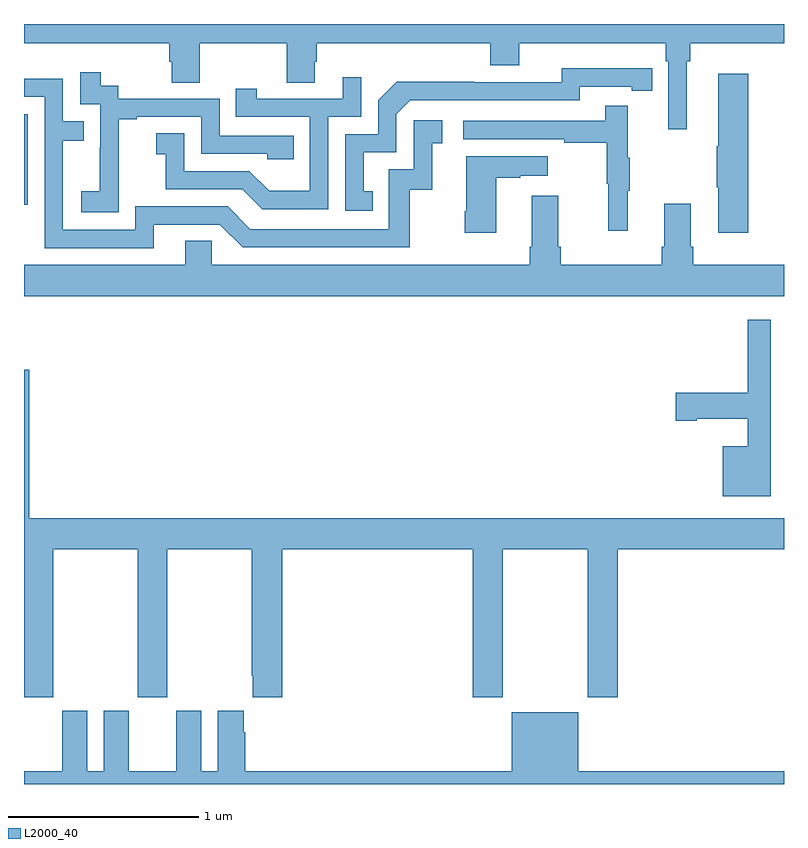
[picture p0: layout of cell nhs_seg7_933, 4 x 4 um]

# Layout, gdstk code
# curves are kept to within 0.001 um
import gdstk
lib = gdstk.Library(unit=1e-6, precision=1e-09)
def R(c, l, rs):  # rectangles x0, y0, x1, y1
    for r in rs: c.add(gdstk.rectangle(r[:2], r[2:], *l))
def P(c, l, *ps):  # polygons
    for p in ps: c.add(gdstk.Polygon(p, *l))
L2000_40 = (2000, 40)

nhs_seg7_933 = lib.new_cell('nhs_seg7_933')
R(nhs_seg7_933, L2000_40, [(179,1049.049,179.019,1049.526)])
P(nhs_seg7_933, L2000_40, [(182.488,1049.804),(182.507,1049.804),(182.507,1049.9),(183,1049.9),(183,1050),(179,1050),(179,1049.9),(179.765,1049.9),(179.765,1049.802),(179.777,1049.802),(179.777,1049.692),(179.925,1049.692),(179.925,1049.9),(180.382,1049.9),(180.382,1049.692),(180.529,1049.692),(180.529,1049.802),(180.542,1049.802),(180.542,1049.9),(181.454,1049.9),(181.454,1049.783),(181.606,1049.783),(181.606,1049.9),(182.378,1049.9),(182.378,1049.804),(182.391,1049.804),(182.391,1049.445),(182.488,1049.445)],
  [(180.836,1049.121),(180.787,1049.121),(180.787,1049.325),(180.96,1049.325),(180.96,1049.526),(181.032,1049.598),(181.926,1049.598),(181.926,1049.67),(182.198,1049.67),(182.198,1049.65),(182.306,1049.65),(182.306,1049.766),(181.83,1049.767),(181.83,1049.694),(181.37,1049.694),(181.37,1049.696),(180.962,1049.696),(180.864,1049.598),(180.864,1049.421),(180.69,1049.421),(180.69,1049.016),(180.836,1049.016)],
  [(179.499,1049.215),(179.498,1049.215),(179.498,1049.499),(179.593,1049.499),(179.593,1049.511),(179.934,1049.511),(179.934,1049.316),(180.279,1049.316),(180.279,1049.289),(180.419,1049.289),(180.419,1049.412),(180.03,1049.412),(180.03,1049.607),(179.496,1049.607),(179.496,1049.676),(179.404,1049.676),(179.404,1049.746),(179.295,1049.746),(179.295,1049.577),(179.4,1049.577),(179.4,1049.348),(179.399,1049.348),(179.399,1049.119),(179.301,1049.119),(179.301,1049.009),(179.499,1049.009)],
  [(182.813,1049.737),(182.654,1049.737),(182.654,1049.357),(182.647,1049.357),(182.647,1049.14),(182.654,1049.14),(182.654,1048.902),(182.813,1048.902)],
  [(180.6,1049.511),(180.774,1049.511),(180.774,1049.719),(180.677,1049.719),(180.677,1049.607),(180.226,1049.607),(180.226,1049.659),(180.115,1049.659),(180.115,1049.511),(180.504,1049.511),(180.504,1049.122),(180.29,1049.122),(180.186,1049.226),(179.844,1049.226),(179.844,1049.425),(179.697,1049.425),(179.697,1049.315),(179.746,1049.315),(179.746,1049.13),(180.149,1049.13),(180.254,1049.025),(180.6,1049.025)],
  [(179.683,1048.944),(180.03,1048.944),(180.15,1048.824),(181.03,1048.824),(181.03,1049.127),(181.148,1049.127),(181.148,1049.373),(181.201,1049.373),(181.201,1049.494),(181.05,1049.494),(181.05,1049.235),(180.921,1049.235),(180.921,1048.92),(180.192,1048.92),(180.072,1049.04),(179.586,1049.04),(179.586,1048.917),(179.205,1048.917),(179.205,1049.386),(179.315,1049.386),(179.315,1049.487),(179.205,1049.487),(179.205,1049.712),(179,1049.712),(179,1049.616),(179.109,1049.616),(179.109,1048.821),(179.683,1048.821)],
  [(182.177,1049.123),(182.188,1049.123),(182.188,1049.297),(182.177,1049.297),(182.177,1049.569),(182.059,1049.569),(182.059,1049.49),(181.311,1049.49),(181.311,1049.394),(181.843,1049.394),(181.843,1049.374),(182.067,1049.374),(182.067,1049.16),(182.074,1049.16),(182.074,1048.911),(182.177,1048.911)],
  [(181.486,1049.191),(181.613,1049.191),(181.613,1049.201),(181.756,1049.201),(181.756,1049.305),(181.328,1049.305),(181.328,1049.014),(181.321,1049.014),(181.321,1048.902),(181.486,1048.902)],
  [(183,1048.732),(182.522,1048.732),(182.522,1048.828),(182.509,1048.828),(182.509,1049.053),(182.369,1049.053),(182.369,1048.828),(182.357,1048.828),(182.357,1048.732),(181.826,1048.732),(181.826,1048.828),(181.813,1048.828),(181.813,1049.095),(181.673,1049.095),(181.673,1048.828),(181.661,1048.828),(181.661,1048.732),(179.988,1048.732),(179.988,1048.859),(179.849,1048.859),(179.849,1048.732),(179,1048.732),(179,1048.568),(183,1048.568)],
  [(182.929,1048.444),(182.808,1048.444),(182.808,1048.058),(182.43,1048.058),(182.43,1047.911),(182.542,1047.911),(182.542,1047.923),(182.808,1047.923),(182.808,1047.778),(182.678,1047.778),(182.678,1047.515),(182.929,1047.515)],
  [(179.154,1047.236),(179.599,1047.236),(179.599,1046.457),(179.754,1046.457),(179.754,1047.236),(180.199,1047.236),(180.199,1046.569),(180.203,1046.569),(180.203,1046.457),(180.359,1046.457),(180.359,1047.236),(181.361,1047.236),(181.361,1046.457),(181.521,1046.457),(181.521,1047.236),(181.966,1047.236),(181.966,1046.457),(182.126,1046.457),(182.126,1047.236),(183,1047.236),(183,1047.4),(179.027,1047.4),(179.027,1048.18),(179,1048.18),(179,1046.457),(179.154,1046.457)],
  [(180.157,1046.273),(180.157,1046.386),(180.02,1046.386),(180.02,1046.068),(179.932,1046.068),(179.932,1046.386),(179.801,1046.386),(179.801,1046.068),(179.551,1046.068),(179.551,1046.386),(179.42,1046.386),(179.42,1046.068),(179.332,1046.068),(179.332,1046.386),(179.201,1046.386),(179.201,1046.068),(179,1046.068),(179,1046),(183,1046),(183,1046.068),(181.918,1046.068),(181.918,1046.377),(181.568,1046.377),(181.568,1046.068),(180.164,1046.068),(180.164,1046.273)])

lib.write_gds('nhs_seg7_933.gds')
